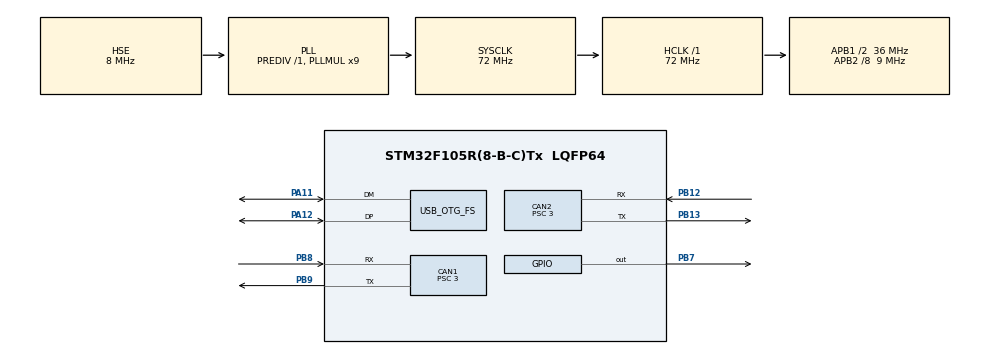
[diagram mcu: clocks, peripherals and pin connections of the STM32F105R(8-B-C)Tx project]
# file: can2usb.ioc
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CAN1.BS1=CAN_BS1_6TQ
CAN1.BS2=CAN_BS2_5TQ
CAN1.CalculateTimeBit=1000
CAN1.CalculateTimeQuantum=83.33333333333334
CAN1.Prescaler=3
CAN2.BS1=CAN_BS1_6TQ
CAN2.BS2=CAN_BS2_5TQ
CAN2.CalculateTimeBit=1000
CAN2.CalculateTimeQuantum=83.33333333333334
CAN2.Prescaler=3
Mcu.Family=STM32F1
Mcu.Name=STM32F105R(8-B-C)Tx
Mcu.Package=LQFP64
NVIC.CAN1_RX0_IRQn=true\:0\:0\:false\:false\:true\:true\:true
NVIC.CAN2_RX0_IRQn=true\:0\:0\:false\:false\:true\:true\:true
NVIC.OTG_FS_IRQn=true\:0\:0\:false\:false\:true\:true\:true
NVIC.PriorityGroup=NVIC_PRIORITYGROUP_4
PA11.Mode=Device_Only
PA11.Signal=USB_OTG_FS_DM
PA12.Mode=Device_Only
PA12.Signal=USB_OTG_FS_DP
PA13.Mode=Serial_Wire
PA13.Signal=SYS_JTMS-SWDIO
PA14.Mode=Serial_Wire
PA14.Signal=SYS_JTCK-SWCLK
PB12.Mode=Slave
PB12.Signal=CAN2_RX
PB13.Mode=Slave
PB13.Signal=CAN2_TX
PB7.Signal=GPIO_Output
PB8.Mode=Master
PB8.Signal=CAN1_RX
PB9.Mode=Master
PB9.Signal=CAN1_TX
PD0-OSC_IN.Mode=HSE-External-Oscillator
PD0-OSC_IN.Signal=RCC_OSC_IN
PD1-OSC_OUT.Mode=HSE-External-Oscillator
PD1-OSC_OUT.Signal=RCC_OSC_OUT
ProjectManager.HeapSize=0x200
ProjectManager.StackSize=0x400
ProjectManager.TargetToolchain=SW4STM32
RCC.AHBFreq_Value=72000000
RCC.APB1CLKDivider=RCC_HCLK_DIV2
RCC.APB1Freq_Value=36000000
RCC.APB1TimFreq_Value=72000000
RCC.APB2CLKDivider=RCC_HCLK_DIV8
RCC.APB2Freq_Value=9000000
RCC.APB2TimFreq_Value=18000000
RCC.HCLKFreq_Value=72000000
RCC.PLLMUL=RCC_PLL_MUL9
RCC.SYSCLKFreq_VALUE=72000000
RCC.SYSCLKSource=RCC_SYSCLKSOURCE_PLLCLK
RCC.USBFreq_Value=48000000
TIM1.Period=60000
TIM1.Prescaler=18000
USB_DEVICE.USBD_HandleTypeDef=hUsbDeviceFS
USB_DEVICE.VirtualMode=Cdc
USB_DEVICE.VirtualModeFS=Cdc_FS
USB_OTG_FS.VirtualMode=Device_Only
VP_TIM1_VS_ClockSourceINT.Mode=Internal
VP_USB_DEVICE_VS_USB_DEVICE_CDC_FS.Mode=CDC_FS
board=custom

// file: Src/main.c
/**
  ******************************************************************************
  * File Name          : main.c
  * Date               : 06/10/2020 15:06:22
  * Description        : Main program body
  ******************************************************************************
  *
  * COPYRIGHT(c) 2020 STMicroelectronics
  *
  * Redistribution and use in source and binary forms, with or without modification,
  * are permitted provided that the following conditions are met:
  *   1. Redistributions of source code must retain the above copyright notice,
  *      this list of conditions and the following disclaimer.
  *   2. Redistributions in binary form must reproduce the above copyright notice,
  *      this list of conditions and the following disclaimer in the documentation
  *      and/or other materials provided with the distribution.
  *   3. Neither the name of STMicroelectronics nor the names of its contributors
  *      may be used to endorse or promote products derived from this software
  *      without specific prior written permission.
  *
  * THIS SOFTWARE IS PROVIDED BY THE COPYRIGHT HOLDERS AND CONTRIBUTORS "AS IS"
  * AND ANY EXPRESS OR IMPLIED WARRANTIES, INCLUDING, BUT NOT LIMITED TO, THE
  * IMPLIED WARRANTIES OF MERCHANTABILITY AND FITNESS FOR A PARTICULAR PURPOSE ARE
  * DISCLAIMED. IN NO EVENT SHALL THE COPYRIGHT HOLDER OR CONTRIBUTORS BE LIABLE
  * FOR ANY DIRECT, INDIRECT, INCIDENTAL, SPECIAL, EXEMPLARY, OR CONSEQUENTIAL
  * DAMAGES (INCLUDING, BUT NOT LIMITED TO, PROCUREMENT OF SUBSTITUTE GOODS OR
  * SERVICES; LOSS OF USE, DATA, OR PROFITS; OR BUSINESS INTERRUPTION) HOWEVER
  * CAUSED AND ON ANY THEORY OF LIABILITY, WHETHER IN CONTRACT, STRICT LIABILITY,
  * OR TORT (INCLUDING NEGLIGENCE OR OTHERWISE) ARISING IN ANY WAY OUT OF THE USE
  * OF THIS SOFTWARE, EVEN IF ADVISED OF THE POSSIBILITY OF SUCH DAMAGE.
  *
  ******************************************************************************
  */

#include "stm32f1xx_hal.h"
#include "usb_device.h"

/* USER CODE BEGIN Includes */
#include "usbd_cdc_if.h"
/* USER CODE END Includes */

CAN_HandleTypeDef hcan1;
CAN_HandleTypeDef hcan2;

TIM_HandleTypeDef htim1;

/* USER CODE BEGIN PV */
static CanTxMsgTypeDef        can2TxMessage;
static CanRxMsgTypeDef        can2RxMessage;

uint8_t interface_state = 0 ;
/* USER CODE END PV */

static void MX_GPIO_Init(void);
static void SystemClock_Config(void);
static void MX_CAN1_Init(void);
static void MX_TIM1_Init(void);
static void MX_CAN2_Init(void);

/* USER CODE BEGIN PFP */
extern uint8_t CDC_periodic_callback(void);
extern uint8_t CDC_add_buf_to_transmit(uint8_t* Buf, uint16_t Len);
/* USER CODE END PFP */

/* USER CODE BEGIN 0 */
uint8_t halfbyte_to_hexascii(uint8_t _halfbyte)
{
 _halfbyte &= 0x0F ;
 if(_halfbyte >= 10) return('A' + _halfbyte - 10) ;
	else               return('0' + _halfbyte) ;
}

uint8_t hexascii_to_halfbyte(uint8_t _ascii)
{
 if (_ascii >= '0' && _ascii <= '9') return _ascii - '0';
 if (_ascii >= 'a' && _ascii <= 'f') return _ascii - 'a' + 10;
 if (_ascii >= 'A' && _ascii <= 'F') return _ascii - 'A' + 10;
 return 0xFF;
}

void HAL_CAN_RxCpltCallback(CAN_HandleTypeDef* CanHandle)
{
	uint32_t num_bytes ;
	uint8_t buf[200] ;
	static uint32_t time ;

	time = __HAL_TIM_GetCounter(&htim1) ;
/*
  num_bytes = sprintf((char*)buf,"t%3.3X%1.1X%2.2X%2.2X%2.2X%2.2X%2.2X%2.2X%2.2X%2.2X%4.4X\r", \
		                              CanHandle->pRxMsg->StdId,\
																	CanHandle->pRxMsg->DLC,\
																	CanHandle->pRxMsg->Data[0],\
																	CanHandle->pRxMsg->Data[1],\
																	CanHandle->pRxMsg->Data[2],\
																	CanHandle->pRxMsg->Data[3],\
																	CanHandle->pRxMsg->Data[4],\
																	CanHandle->pRxMsg->Data[5],\
																	CanHandle->pRxMsg->Data[6],\
																	CanHandle->pRxMsg->Data[7],\
																	time
																	);
*/

	 // <type> <id> <dlc> <data> [timestamp msec] [flags]
    num_bytes = 0;
    if (CanHandle->pRxMsg->IDE == CAN_ID_STD) {
        buf[num_bytes++] = 't';
        buf[num_bytes++] = halfbyte_to_hexascii((CanHandle->pRxMsg->StdId)>>8);
        buf[num_bytes++] = halfbyte_to_hexascii((CanHandle->pRxMsg->StdId)>>4);
        buf[num_bytes++] = halfbyte_to_hexascii((CanHandle->pRxMsg->StdId));
    }
    else {
        buf[num_bytes++] = 'T';
//        for (int i = 0; i < 8; i++)
//            buf[num_bytes++] = halfbyte_to_hexascii(CanHandle->pRxMsg->ExtId >> ((7 - i) * 4));
        buf[num_bytes++] = halfbyte_to_hexascii((CanHandle->pRxMsg->ExtId)>>28);
        buf[num_bytes++] = halfbyte_to_hexascii((CanHandle->pRxMsg->ExtId)>>24);
        buf[num_bytes++] = halfbyte_to_hexascii((CanHandle->pRxMsg->ExtId)>>20);
        buf[num_bytes++] = halfbyte_to_hexascii((CanHandle->pRxMsg->ExtId)>>16);
        buf[num_bytes++] = halfbyte_to_hexascii((CanHandle->pRxMsg->ExtId)>>12);
        buf[num_bytes++] = halfbyte_to_hexascii((CanHandle->pRxMsg->ExtId)>>8);
        buf[num_bytes++] = halfbyte_to_hexascii((CanHandle->pRxMsg->ExtId)>>4);
        buf[num_bytes++] = halfbyte_to_hexascii((CanHandle->pRxMsg->ExtId));
    }

	buf[num_bytes++] = halfbyte_to_hexascii((CanHandle->pRxMsg->DLC));

	buf[num_bytes++] = halfbyte_to_hexascii((CanHandle->pRxMsg->Data[0])>>4);
	buf[num_bytes++] = halfbyte_to_hexascii((CanHandle->pRxMsg->Data[0]));
	buf[num_bytes++] = halfbyte_to_hexascii((CanHandle->pRxMsg->Data[1])>>4);
	buf[num_bytes++] = halfbyte_to_hexascii((CanHandle->pRxMsg->Data[1]));
	buf[num_bytes++] = halfbyte_to_hexascii((CanHandle->pRxMsg->Data[2])>>4);
	buf[num_bytes++] = halfbyte_to_hexascii((CanHandle->pRxMsg->Data[2]));
	buf[num_bytes++] = halfbyte_to_hexascii((CanHandle->pRxMsg->Data[3])>>4);
	buf[num_bytes++] = halfbyte_to_hexascii((CanHandle->pRxMsg->Data[3]));
	buf[num_bytes++] = halfbyte_to_hexascii((CanHandle->pRxMsg->Data[4])>>4);
	buf[num_bytes++] = halfbyte_to_hexascii((CanHandle->pRxMsg->Data[4]));
	buf[num_bytes++] = halfbyte_to_hexascii((CanHandle->pRxMsg->Data[5])>>4);
	buf[num_bytes++] = halfbyte_to_hexascii((CanHandle->pRxMsg->Data[5]));
	buf[num_bytes++] = halfbyte_to_hexascii((CanHandle->pRxMsg->Data[6])>>4);
	buf[num_bytes++] = halfbyte_to_hexascii((CanHandle->pRxMsg->Data[6]));
	buf[num_bytes++] = halfbyte_to_hexascii((CanHandle->pRxMsg->Data[7])>>4);
	buf[num_bytes++] = halfbyte_to_hexascii((CanHandle->pRxMsg->Data[7]));

	buf[num_bytes++] = halfbyte_to_hexascii((time)>>12);
	buf[num_bytes++] = halfbyte_to_hexascii((time)>>8);
	buf[num_bytes++] = halfbyte_to_hexascii((time)>>4);
	buf[num_bytes++] = halfbyte_to_hexascii((time)>>0);
	buf[num_bytes++] = '\r';

	if (interface_state == 1)
	    CDC_add_buf_to_transmit(buf,num_bytes);

	HAL_CAN_Receive_IT(&hcan2, CAN_FIFO0);
}

/* USER CODE END 0 */

int main(void)
{

  /* MCU Configuration----------------------------------------------------------*/

  /* Reset of all peripherals, Initializes the Flash interface and the Systick. */
  HAL_Init();

  /* Configure the system clock */
  SystemClock_Config();

  /* Initialize all configured peripherals */
  MX_GPIO_Init();
  SystemClock_Config();
  MX_CAN1_Init();
  MX_TIM1_Init();
  MX_USB_DEVICE_Init();
  MX_CAN2_Init();

  /* USER CODE BEGIN 2 */
  HAL_TIM_Base_Start(&htim1);

  hcan2.pTxMsg = &can2TxMessage;
  hcan2.pRxMsg = &can2RxMessage;

  CAN_FilterConfTypeDef canFilterConfig;
  canFilterConfig.FilterNumber = 27; // was 0
  canFilterConfig.FilterMode = CAN_FILTERMODE_IDMASK;
  canFilterConfig.FilterScale = CAN_FILTERSCALE_32BIT;
  canFilterConfig.FilterIdHigh = 0x0000;
  canFilterConfig.FilterIdLow = 0x0000;
  canFilterConfig.FilterMaskIdHigh = 0x0000 << 5;
  canFilterConfig.FilterMaskIdLow = 0x0000;
  canFilterConfig.FilterFIFOAssignment = 0;
  canFilterConfig.FilterActivation = ENABLE;
  canFilterConfig.BankNumber = 0; // was 1
  HAL_CAN_ConfigFilter(&hcan1, &canFilterConfig); // config CAN1!

  HAL_CAN_Receive_IT(&hcan2, CAN_FIFO0);
  /* USER CODE END 2 */

  /* Infinite loop */
  while (1)
  {

  /* USER CODE BEGIN 3 */
   CDC_periodic_callback();
  }
  /* USER CODE END 3 */

}

/** System Clock Configuration
*/
void SystemClock_Config(void)
{

  RCC_OscInitTypeDef RCC_OscInitStruct;
  RCC_ClkInitTypeDef RCC_ClkInitStruct;
  RCC_PeriphCLKInitTypeDef PeriphClkInit;

  RCC_OscInitStruct.OscillatorType = RCC_OSCILLATORTYPE_HSE;
  RCC_OscInitStruct.HSEState = RCC_HSE_ON;
  RCC_OscInitStruct.HSEPredivValue = RCC_HSE_PREDIV_DIV1;
  RCC_OscInitStruct.HSIState = RCC_HSI_ON;
  RCC_OscInitStruct.Prediv1Source = RCC_PREDIV1_SOURCE_HSE;
  RCC_OscInitStruct.PLL.PLLState = RCC_PLL_ON;
  RCC_OscInitStruct.PLL.PLLSource = RCC_PLLSOURCE_HSE;
  RCC_OscInitStruct.PLL.PLLMUL = RCC_PLL_MUL9;
  RCC_OscInitStruct.PLL2.PLL2State = RCC_PLL_NONE;
  HAL_RCC_OscConfig(&RCC_OscInitStruct);

  RCC_ClkInitStruct.ClockType = RCC_CLOCKTYPE_SYSCLK|RCC_CLOCKTYPE_PCLK1
                              |RCC_CLOCKTYPE_PCLK2;
  RCC_ClkInitStruct.SYSCLKSource = RCC_SYSCLKSOURCE_PLLCLK;
  RCC_ClkInitStruct.AHBCLKDivider = RCC_SYSCLK_DIV1;
  RCC_ClkInitStruct.APB1CLKDivider = RCC_HCLK_DIV2;
  RCC_ClkInitStruct.APB2CLKDivider = RCC_HCLK_DIV8;
  HAL_RCC_ClockConfig(&RCC_ClkInitStruct, FLASH_LATENCY_2);

  PeriphClkInit.PeriphClockSelection = RCC_PERIPHCLK_USB;
  PeriphClkInit.UsbClockSelection = RCC_USBPLLCLK_DIV3;
  HAL_RCCEx_PeriphCLKConfig(&PeriphClkInit);

  __HAL_RCC_AFIO_CLK_ENABLE();

}

/* CAN1 init function */
void MX_CAN1_Init(void)
{

  hcan1.Instance = CAN1;
  hcan1.Init.Prescaler = 3;
  hcan1.Init.Mode = CAN_MODE_NORMAL;
  hcan1.Init.SJW = CAN_SJW_1TQ;
  hcan1.Init.BS1 = CAN_BS1_6TQ;
  hcan1.Init.BS2 = CAN_BS2_5TQ;
  hcan1.Init.TTCM = DISABLE;
  hcan1.Init.ABOM = DISABLE;
  hcan1.Init.AWUM = DISABLE;
  hcan1.Init.NART = DISABLE;
  hcan1.Init.RFLM = DISABLE;
  hcan1.Init.TXFP = DISABLE;
  HAL_CAN_Init(&hcan1);

}

/* CAN2 init function */
void MX_CAN2_Init(void)
{

  hcan2.Instance = CAN2;
  hcan2.Init.Prescaler = 3;
  hcan2.Init.Mode = CAN_MODE_NORMAL;
  hcan2.Init.SJW = CAN_SJW_1TQ;
  hcan2.Init.BS1 = CAN_BS1_6TQ;
  hcan2.Init.BS2 = CAN_BS2_5TQ;
  hcan2.Init.TTCM = DISABLE;
  hcan2.Init.ABOM = DISABLE;
  hcan2.Init.AWUM = DISABLE;
  hcan2.Init.NART = DISABLE;
  hcan2.Init.RFLM = DISABLE;
  hcan2.Init.TXFP = DISABLE;
  HAL_CAN_Init(&hcan2);

}

/* TIM1 init function */
void MX_TIM1_Init(void)
{

  TIM_ClockConfigTypeDef sClockSourceConfig;
  TIM_MasterConfigTypeDef sMasterConfig;

  htim1.Instance = TIM1;
  htim1.Init.Prescaler = 18000;
  htim1.Init.CounterMode = TIM_COUNTERMODE_UP;
  htim1.Init.Period = 60000;
  htim1.Init.ClockDivision = TIM_CLOCKDIVISION_DIV1;
  htim1.Init.RepetitionCounter = 0;
  HAL_TIM_Base_Init(&htim1);

  sClockSourceConfig.ClockSource = TIM_CLOCKSOURCE_INTERNAL;
  HAL_TIM_ConfigClockSource(&htim1, &sClockSourceConfig);

  sMasterConfig.MasterOutputTrigger = TIM_TRGO_RESET;
  sMasterConfig.MasterSlaveMode = TIM_MASTERSLAVEMODE_DISABLE;
  HAL_TIMEx_MasterConfigSynchronization(&htim1, &sMasterConfig);

}

/** Configure pins as
        * Analog
        * Input
        * Output
        * EVENT_OUT
        * EXTI
*/
void MX_GPIO_Init(void)
{

  GPIO_InitTypeDef GPIO_InitStruct;

  /* GPIO Ports Clock Enable */
  __HAL_RCC_GPIOD_CLK_ENABLE();
  __HAL_RCC_GPIOB_CLK_ENABLE();
  __HAL_RCC_GPIOA_CLK_ENABLE();

  /*Configure GPIO pin : PB7 */
  GPIO_InitStruct.Pin = GPIO_PIN_7;
  GPIO_InitStruct.Mode = GPIO_MODE_OUTPUT_PP;
  GPIO_InitStruct.Speed = GPIO_SPEED_LOW;
  HAL_GPIO_Init(GPIOB, &GPIO_InitStruct);

}

/************************ (C) COPYRIGHT STMicroelectronics *****END OF FILE****/
